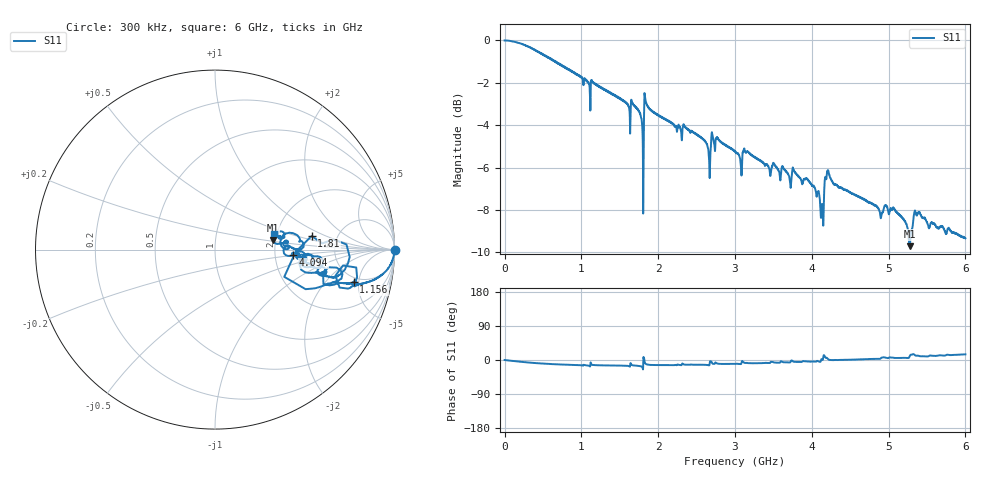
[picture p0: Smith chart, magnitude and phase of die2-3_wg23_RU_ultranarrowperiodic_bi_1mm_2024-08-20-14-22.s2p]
!Keysight Technologies,P9374A,MY57304198,A.17.20.09
!Date: Tuesday, August 20, 2024 14:22:46
!Correction: S11(C  1-Port  )
!S21(C  1-Port  )
!S12(Off)
!S22(Off)
!S2P File: Measurements: S11, S21, S12, S22:
# Hz S  dB  R 50
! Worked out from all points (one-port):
!   6000 points, 300 kHz to 6 GHz, reference 50 ohm
!   lowest |S11| = -9.7 dB at 5.273 GHz (marker M1), VSWR 1.97, Z = 96.8 + j11.3 ohm
!   |S11| at or under -10 dB: nowhere
!   S11 on the Smith chart (normalised r, x): 300 kHz: open; 1.156 GHz: 4.36, -4.30; 1.81 GHz: 3.22, +0.69; 4.094 GHz: 2.53, -0.20; 6 GHz: 1.93, +0.39
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300000  0.00 -0.0  -200.00 45.0  -200.00 45.0  -200.00 45.0
4.233494e8  -0.49 -8.3  -200.00 45.0  -200.00 45.0  -200.00 45.0
1.000417e9  -1.74 -13.9  -200.00 45.0  -200.00 45.0  -200.00 45.0
1.156435e9  -2.00 -13.3  -200.00 45.0  -200.00 45.0  -200.00 45.0
1.611488e9  -3.08 -15.7  -200.00 45.0  -200.00 45.0  -200.00 45.0
1.673495e9  -3.03 -14.2  -200.00 45.0  -200.00 45.0  -200.00 45.0
1.772507e9  -3.56 -16.6  -200.00 45.0  -200.00 45.0  -200.00 45.0
1.809511e9  -5.29 8.0  -200.00 45.0  -200.00 45.0  -200.00 45.0
1.846515e9  -2.96 -11.2  -200.00 45.0  -200.00 45.0  -200.00 45.0
2.000533e9  -3.53 -13.4  -200.00 45.0  -200.00 45.0  -200.00 45.0
2.652609e9  -5.14 -13.6  -200.00 45.0  -200.00 45.0  -200.00 45.0
2.775624e9  -4.62 -9.7  -200.00 45.0  -200.00 45.0  -200.00 45.0
3.00065e9  -5.23 -10.2  -200.00 45.0  -200.00 45.0  -200.00 45.0
4.000767e9  -6.85 -4.3  -200.00 45.0  -200.00 45.0  -200.00 45.0
4.093778e9  -7.21 -4.1  -200.00 45.0  -200.00 45.0  -200.00 45.0
4.132782e9  -7.71 1.4  -200.00 45.0  -200.00 45.0  -200.00 45.0
4.177787e9  -6.43 6.5  -200.00 45.0  -200.00 45.0  -200.00 45.0
4.261797e9  -6.62 -0.2  -200.00 45.0  -200.00 45.0  -200.00 45.0
5.000883e9  -8.18 5.5  -200.00 45.0  -200.00 45.0  -200.00 45.0
5.272915e9  -9.70 9.2  -200.00 45.0  -200.00 45.0  -200.00 45.0
5.366926e9  -8.26 11.5  -200.00 45.0  -200.00 45.0  -200.00 45.0
6e9  -9.33 15.0  -200.00 45.0  -200.00 45.0  -200.00 45.0
